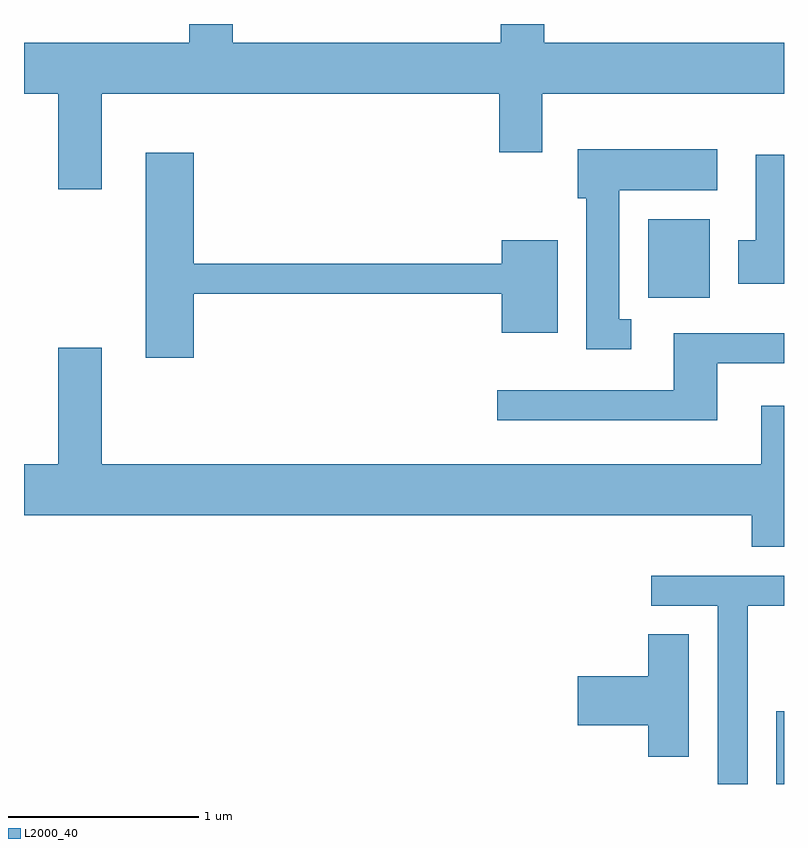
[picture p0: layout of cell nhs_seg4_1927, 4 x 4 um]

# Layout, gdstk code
import gdstk
lib = gdstk.Library(unit=1e-6, precision=1e-09)
def R(c, l, rs):  # rectangles x0, y0, x1, y1
    for r in rs: c.add(gdstk.rectangle(r[:2], r[2:], *l))
def P(c, l, *ps):  # polygons
    for p in ps: c.add(gdstk.Polygon(p, *l))
L2000_40 = (2000, 40)

nhs_seg4_1927 = lib.new_cell('nhs_seg4_1927')
R(nhs_seg4_1927, L2000_40, [(245.571,1299.982,245.611,1300.364), (244.896,1302.541,245.219,1302.954)])
P(nhs_seg4_1927, L2000_40, [(242.019,1303.616),(244.111,1303.616),(244.111,1303.306),(244.339,1303.306),(244.339,1303.616),(245.611,1303.616),(245.611,1303.884),(244.349,1303.884),(244.349,1303.982),(244.121,1303.982),(244.121,1303.884),(242.709,1303.884),(242.709,1303.982),(242.481,1303.982),(242.481,1303.884),(241.611,1303.884),(241.611,1303.616),(241.791,1303.616),(241.791,1303.111),(242.019,1303.111)],
  [(244.808,1302.429),(244.744,1302.429),(244.744,1303.106),(245.259,1303.106),(245.259,1303.324),(244.526,1303.324),(244.526,1303.066),(244.571,1303.066),(244.571,1302.271),(244.808,1302.271)],
  [(242.504,1302.561),(244.126,1302.561),(244.126,1302.356),(244.419,1302.356),(244.419,1302.844),(244.126,1302.844),(244.126,1302.719),(242.504,1302.719),(242.504,1303.304),(242.251,1303.304),(242.251,1302.226),(242.504,1302.226)],
  [(245.611,1303.294),(245.461,1303.294),(245.461,1302.844),(245.371,1302.844),(245.371,1302.616),(245.611,1302.616)],
  [(245.259,1302.196),(245.611,1302.196),(245.611,1302.354),(245.031,1302.354),(245.031,1302.054),(244.103,1302.054),(244.103,1301.896),(245.259,1301.896)],
  [(245.611,1301.974),(245.491,1301.974),(245.491,1301.664),(242.019,1301.664),(242.019,1302.279),(241.791,1302.279),(241.791,1301.664),(241.611,1301.664),(241.611,1301.396),(245.441,1301.396),(245.441,1301.231),(245.611,1301.231)],
  [(245.419,1300.921),(245.611,1300.921),(245.611,1301.079),(244.913,1301.079),(244.913,1300.921),(245.261,1300.921),(245.261,1299.982),(245.419,1299.982)],
  [(245.109,1300.769),(244.896,1300.769),(244.896,1300.549),(244.526,1300.549),(244.526,1300.291),(244.896,1300.291),(244.896,1300.126),(245.109,1300.126)])

lib.write_gds('nhs_seg4_1927.gds')
